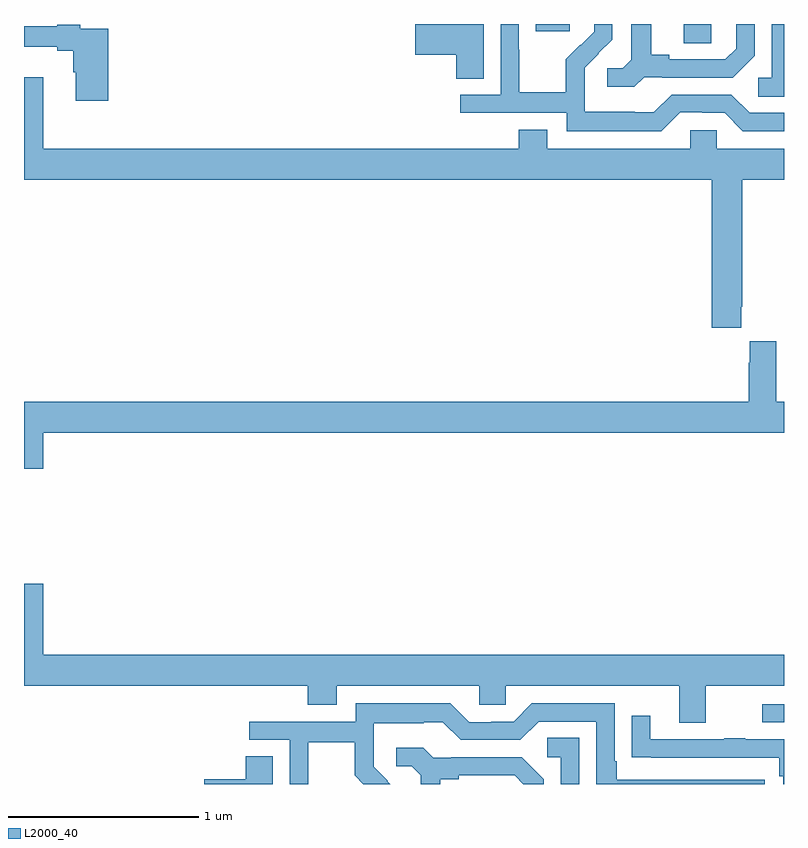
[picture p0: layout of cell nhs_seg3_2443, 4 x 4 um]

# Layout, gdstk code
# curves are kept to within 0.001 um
import gdstk
lib = gdstk.Library(unit=1e-6, precision=1e-09)
def R(c, l, rs):  # rectangles x0, y0, x1, y1
    for r in rs: c.add(gdstk.rectangle(r[:2], r[2:], *l))
def P(c, l, *ps):  # polygons
    for p in ps: c.add(gdstk.Polygon(p, *l))
L2000_40 = (2000, 40)

nhs_seg3_2443 = lib.new_cell('nhs_seg3_2443')
R(nhs_seg3_2443, L2000_40, [(240.885,700.725,241,700.821), (240.473,704.299,240.618,704.4), (239.693,704.361,239.872,704.4)])
P(nhs_seg3_2443, L2000_40, [(239.419,704.4),(239.058,704.4),(239.058,704.237),(239.276,704.237),(239.276,704.113),(239.419,704.113)],
  [(240.264,704.121),(240.358,704.121),(240.358,704.118),(240.73,704.118),(240.846,704.234),(240.846,704.4),(240.749,704.4),(240.749,704.271),(240.692,704.214),(240.397,704.214),(240.397,704.237),(240.301,704.237),(240.301,704.4),(240.197,704.4),(240.197,704.213),(240.15,704.166),(240.069,704.166),(240.069,704.069),(240.212,704.069)],
  [(240.453,703.935),(240.569,703.935),(240.569,703.932),(240.687,703.932),(240.783,703.836),(241,703.836),(241,703.932),(240.819,703.932),(240.723,704.028),(240.408,704.028),(240.315,703.935),(240.215,703.935),(240.215,703.939),(239.952,703.939),(239.952,704.073),(239.95,704.073),(239.95,704.17),(240.096,704.318),(240.096,704.4),(240.002,704.4),(240.002,704.36),(239.931,704.289),(239.928,704.292),(239.851,704.215),(239.851,704.041),(239.607,704.041),(239.607,704.264),(239.604,704.264),(239.604,704.4),(239.508,704.4),(239.508,704.028),(239.295,704.028),(239.295,703.932),(239.856,703.932),(239.856,703.835),(240.353,703.835)],
  [(241,704.4),(240.936,704.4),(240.936,704.118),(240.864,704.118),(240.864,704.017),(241,704.017)],
  [(237.443,704.376),(237.296,704.376),(237.296,704.396),(237.176,704.396),(237.176,704.389),(237,704.389),(237,704.279),(237.176,704.279),(237.176,704.26),(237.26,704.26),(237.26,704.145),(237.272,704.145),(237.272,703.995),(237.443,703.995)],
  [(240.775,702.913),(240.78,702.913),(240.78,703.58),(241,703.58),(241,703.744),(240.645,703.744),(240.645,703.842),(240.507,703.842),(240.507,703.744),(239.755,703.744),(239.755,703.843),(239.603,703.843),(239.603,703.744),(237.1,703.744),(237.1,704.119),(237,704.119),(237,703.58),(240.62,703.58),(240.62,702.801),(240.775,702.801)],
  [(237.1,702.248),(241,702.248),(241,702.412),(240.958,702.412),(240.958,702.73),(240.821,702.73),(240.821,702.617),(240.815,702.617),(240.815,702.412),(237,702.412),(237,702.06),(237.1,702.06)],
  [(240.589,700.916),(241,700.916),(241,701.08),(237.1,701.08),(237.1,701.455),(237,701.455),(237,700.916),(238.493,700.916),(238.493,700.817),(238.645,700.817),(238.645,700.916),(239.397,700.916),(239.397,700.818),(239.535,700.818),(239.535,700.916),(240.449,700.916),(240.449,700.722),(240.589,700.722)],
  [(238.497,700.62),(238.741,700.62),(238.741,700.445),(238.786,700.4),(238.928,700.4),(238.913,700.415),(238.914,700.416),(238.84,700.49),(238.84,700.587),(238.842,700.587),(238.842,700.721),(239.105,700.721),(239.105,700.725),(239.205,700.725),(239.298,700.632),(239.613,700.632),(239.709,700.728),(240.012,700.728),(240.012,700.4),(240.898,700.4),(240.898,700.422),(240.121,700.422),(240.121,700.519),(240.108,700.519),(240.108,700.824),(239.673,700.824),(239.577,700.728),(239.459,700.728),(239.459,700.725),(239.343,700.725),(239.243,700.825),(238.746,700.825),(238.746,700.728),(238.185,700.728),(238.185,700.632),(238.398,700.632),(238.398,700.4),(238.497,700.4)],
  [(241,700.635),(240.797,700.635),(240.797,700.64),(240.685,700.64),(240.685,700.635),(240.295,700.635),(240.295,700.759),(240.199,700.759),(240.199,700.54),(240.301,700.54),(240.301,700.539),(240.976,700.539),(240.976,700.442),(240.996,700.442),(240.996,700.4),(241,700.4)],
  [(239.922,700.643),(239.754,700.643),(239.754,700.542),(239.826,700.542),(239.826,700.4),(239.922,700.4)],
  [(239.191,700.424),(239.287,700.424),(239.287,700.446),(239.582,700.446),(239.628,700.4),(239.736,700.4),(239.736,700.426),(239.62,700.542),(239.248,700.542),(239.248,700.539),(239.154,700.539),(239.102,700.591),(238.959,700.591),(238.959,700.494),(239.04,700.494),(239.087,700.447),(239.087,700.4),(239.191,700.4)],
  [(238.309,700.547),(238.166,700.547),(238.166,700.424),(237.948,700.424),(237.948,700.4),(238.309,700.4)])

lib.write_gds('nhs_seg3_2443.gds')
